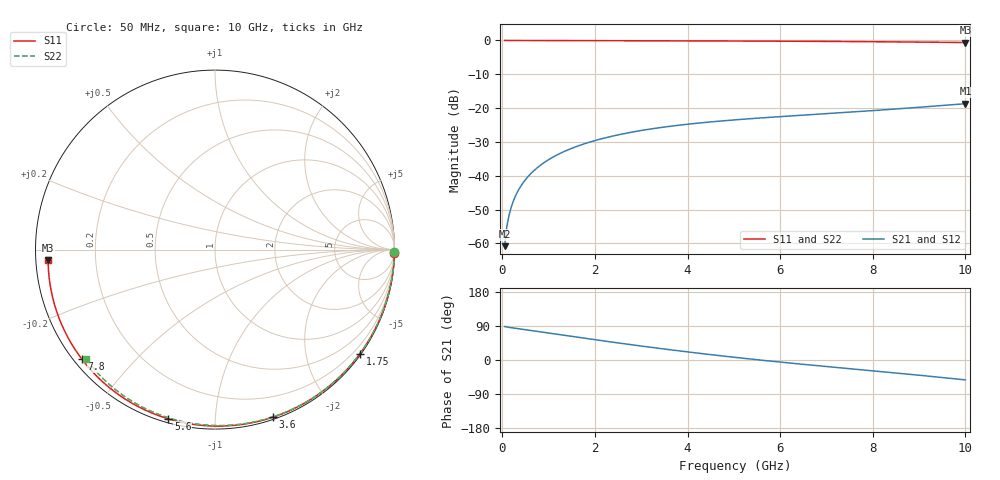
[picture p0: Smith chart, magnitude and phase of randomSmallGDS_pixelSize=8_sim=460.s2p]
! freq	dB(S11)	phase(S11)	dB(S12)	phase(S12)
!  dB(S21)	phase(S21)	dB(S22)	phase(S22)
!S-par simulation data
#  GHz  S  DB  R 50
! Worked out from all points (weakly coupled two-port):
!   200 points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, 50 MHz to 10 GHz, reference 50 ohm
!   highest |S21| = -18.70 dB at 10 GHz (marker M1); lowest = -60.8 dB at 50 MHz (marker M2)
!   lowest |S11| = -0.6 dB at 10 GHz (marker M3), VSWR 28.24, Z = 1.77 - j1.56 ohm
!   |S11| at or under -10 dB: nowhere
!   |S22| runs from -0.5 to 0.0 dB; largest |S21 - S12| = 0
!   S11 on the Smith chart (normalised r, x): 50 MHz: open; 1.75 GHz: 0.03, -3.11; 3.6 GHz: 0.02, -1.41; 5.6 GHz: 0.02, -0.76; 7.8 GHz: 0.02, -0.36; 10 GHz: 0.04, -0.03
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0.05  -0.00 -1.0  -60.83 88.4  -60.83 88.4  -0.00 -0.8
0.1  -0.00 -2.1  -54.89 87.0  -54.89 87.0  -0.00 -1.7
0.15  -0.00 -3.1  -51.43 86.0  -51.43 86.0  -0.00 -2.5
0.2  -0.00 -4.2  -48.99 85.1  -48.99 85.1  -0.00 -3.3
0.25  -0.00 -5.2  -47.09 84.3  -47.09 84.3  -0.00 -4.1
0.35  -0.01 -7.3  -44.21 82.7  -44.21 82.7  -0.00 -5.8
0.5  -0.01 -10.4  -41.16 80.1  -41.16 80.1  -0.01 -8.2
0.7  -0.02 -14.5  -38.28 76.6  -38.28 76.6  -0.01 -11.5
1  -0.03 -20.6  -35.25 71.2  -35.25 71.2  -0.02 -16.4
1.35  -0.04 -27.7  -32.75 65.0  -32.75 65.0  -0.03 -22.0
1.75  -0.05 -35.7  -30.65 57.9  -30.65 57.9  -0.04 -28.4
2.6  -0.07 -52.2  -27.63 43.4  -27.63 43.4  -0.06 -41.7
3.4  -0.10 -67.2  -25.79 30.5  -25.79 30.5  -0.08 -53.8
3.6  -0.11 -70.8  -25.42 27.4  -25.42 27.4  -0.09 -56.8
4.3  -0.13 -83.3  -24.34 17.0  -24.34 17.0  -0.11 -67.0
5.05  -0.16 -96.2  -23.45 6.6  -23.45 6.6  -0.14 -77.5
5.6  -0.19 -105.4  -22.89 -0.5  -22.89 -0.5  -0.16 -85.0
6.7  -0.26 -123.2  -21.91 -13.8  -21.91 -13.8  -0.21 -99.5
7.8  -0.35 -140.6  -20.93 -26.3  -20.93 -26.3  -0.29 -113.3
8.35  -0.40 -149.3  -20.41 -32.6  -20.41 -32.6  -0.34 -120.0
9.2  -0.50 -163.0  -19.55 -42.5  -19.55 -42.5  -0.42 -130.2
10  -0.62 -176.4  -18.70 -52.5  -18.70 -52.5  -0.52 -139.8
